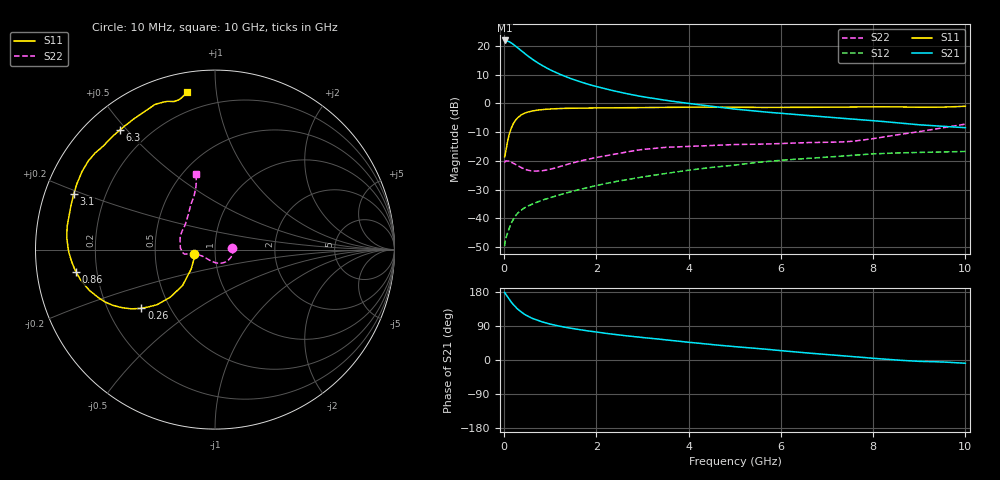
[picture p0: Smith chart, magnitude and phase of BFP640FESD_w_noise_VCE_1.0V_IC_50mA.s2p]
! Infineon Technologies  Discrete & RF Semiconductors
! BFP640FESD
! VCE =  1.0 V,  IC =  50 mA
! Common Emitter S-Parameters:  Jan 2016
# GHz  S  MA  R  50
!  f  S11  S21  S12  S22
! GHz  MAG  ANG  MAG  ANG  MAG  ANG  MAG  ANG
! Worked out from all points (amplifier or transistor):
!   233 points, 10 MHz to 10 GHz, reference 50 ohm
!   highest |S21| = 21.9 dB at 10 MHz (marker M1)
!   |S21| within 3 dB of that: start of sweep to 327.8 MHz
!   unconditionally stable (mu >= 1): start of sweep to end of sweep
!   at 200 MHz: K = 3.88, MAG = 21.6 dB, |S12| = -40.3 dB
!   at 1.74 GHz: K = 2.13, MAG = 12.2 dB, |S12| = -29.5 dB
!   at 10 GHz: K = 1.93, MAG = -1.4 dB, |S12| = -16.7 dB
!   lowest NFmin = 1.40 dB at 450 MHz
!   S11 on the Smith chart (normalised r, x): 10 MHz: 0.79, -0.04; 260 MHz: 0.35, -0.31; 860 MHz: 0.12, -0.08; 3.1 GHz: 0.09, +0.19; 6.3 GHz: 0.10, +0.48; 10 GHz: 0.10, +0.83
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0.01  0.1175 -167.0  12.38 178.5  0.0033 21.2  0.0932 4.4
0.05  0.1714 -140.7  12.21 171.1  0.0049 29.5  0.1004 -11.6
0.1  0.2698 -132.1  11.88 161.9  0.0064 42.3  0.0994 -24.6
0.15  0.3631 -133.2  11.29 153.5  0.0082 45.7  0.0953 -36.7
0.2  0.4447 -136.4  10.61 146.0  0.0097 48.1  0.0911 -48.0
0.26  0.5244 -141.4  9.706 138.2  0.0115 48.1  0.0856 -59.7
0.3  0.5685 -144.5  9.15 133.5  0.0125 48.0  0.0819 -67.1
0.4  0.6496 -151.5  7.855 123.9  0.0145 47.7  0.0749 -83.8
0.5  0.7005 -157.3  6.786 116.4  0.0162 47.9  0.0696 -98.1
0.6  0.7355 -162.0  5.918 110.4  0.0176 48.5  0.0671 -110.3
0.7  0.7593 -165.8  5.229 105.6  0.019 49.3  0.0666 -120.8
0.86  0.7836 -170.8  4.389 99.4  0.0212 50.8  0.068 -133.9
1.2  0.8131 -178.5  3.22 89.2  0.0257 53.8  0.0797 -152.8
1.68  0.8296 174.1  2.328 79.2  0.0325 56.7  0.101 -163.5
2.22  0.834 167.5  1.765 70.1  0.0407 57.9  0.1237 -168.2
3.1  0.8455 158.5  1.269 58.2  0.0542 57.2  0.1608 -171.2
3.4  0.8502 155.7  1.162 54.5  0.0589 56.6  0.1693 -171.5
5.1  0.8556 140.3  0.781 34.2  0.0865 50.2  0.193 176.9
6.3  0.8511 128.6  0.642 21.5  0.1067 42.6  0.2046 161.5
6.8  0.8548 123.5  0.595 16.3  0.1134 39.8  0.2091 153.6
8.4  0.8705 109.1  0.469 0.8  0.1365 28.8  0.2742 120.3
10  0.8897 100.0  0.378 -8.6  0.146 19.1  0.4357 103.9
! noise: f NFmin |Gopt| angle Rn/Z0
0.45  1.4  0.33  -171  0.09
2.4  1.49  0.36  -152  0.11
5.5  1.92  0.39  -139  0.16
10  2.79  0.55  -95  0.74
